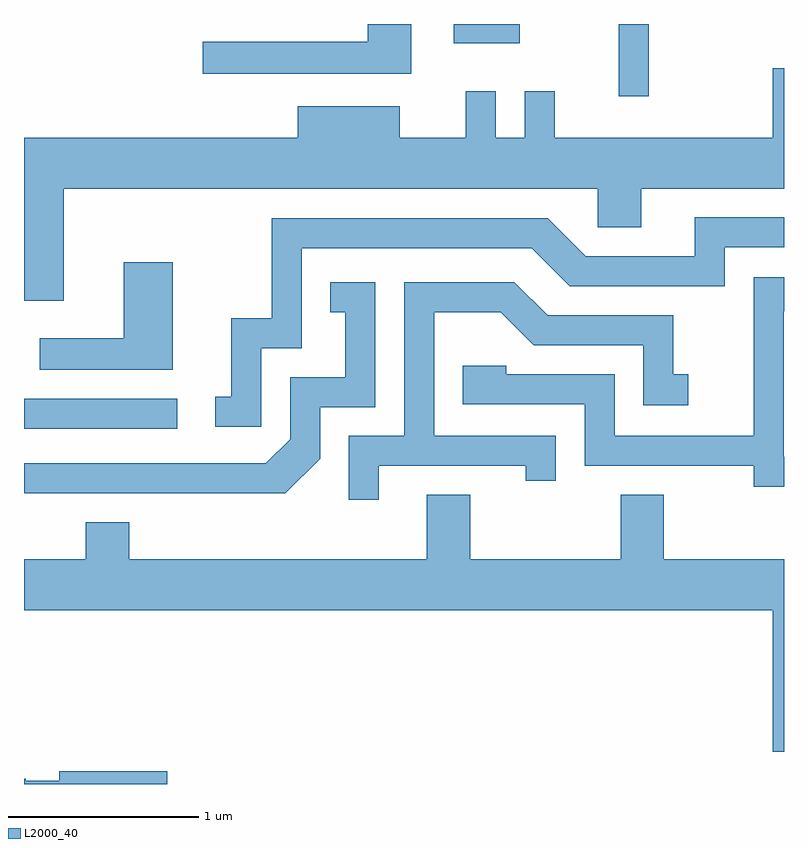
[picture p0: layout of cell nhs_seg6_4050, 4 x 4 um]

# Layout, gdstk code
import gdstk
lib = gdstk.Library(unit=1e-6, precision=1e-09)
def R(c, l, rs):  # rectangles x0, y0, x1, y1
    for r in rs: c.add(gdstk.rectangle(r[:2], r[2:], *l))
def P(c, l, *ps):  # polygons
    for p in ps: c.add(gdstk.Polygon(p, *l))
L2000_40 = (2000, 40)

nhs_seg6_4050 = lib.new_cell('nhs_seg6_4050')
R(nhs_seg6_4050, L2000_40, [(307.611,1622.031,308.418,1622.189), (310.741,1623.783,310.899,1624.162), (309.873,1624.061,310.219,1624.162)])
P(nhs_seg6_4050, L2000_40, [(309.649,1624.162),(309.421,1624.162),(309.421,1624.069),(308.553,1624.069),(308.553,1623.901),(309.649,1623.901)],
  [(307.819,1623.296),(310.631,1623.296),(310.631,1623.091),(310.859,1623.091),(310.859,1623.296),(311.611,1623.296),(311.611,1623.928),(311.551,1623.928),(311.551,1623.564),(310.404,1623.564),(310.404,1623.808),(310.246,1623.808),(310.246,1623.564),(310.094,1623.564),(310.094,1623.808),(309.936,1623.808),(309.936,1623.564),(309.589,1623.564),(309.589,1623.729),(309.051,1623.729),(309.051,1623.564),(307.611,1623.564),(307.611,1622.706),(307.819,1622.706)],
  [(308.859,1622.456),(309.074,1622.456),(309.074,1622.981),(310.284,1622.981),(310.484,1622.781),(311.299,1622.781),(311.299,1622.986),(311.611,1622.986),(311.611,1623.144),(311.141,1623.144),(311.141,1622.939),(310.567,1622.939),(310.367,1623.139),(308.916,1623.139),(308.916,1622.614),(308.701,1622.614),(308.701,1622.199),(308.618,1622.199),(308.618,1622.041),(308.859,1622.041)],
  [(308.394,1622.909),(308.136,1622.909),(308.136,1622.509),(307.693,1622.509),(307.693,1622.341),(308.394,1622.341)],
  [(311.611,1621.884),(311.609,1621.884),(311.609,1622.651),(311.611,1622.651),(311.611,1622.829),(311.451,1622.829),(311.451,1621.994),(310.719,1621.994),(310.719,1622.319),(310.149,1622.319),(310.149,1622.364),(309.921,1622.364),(309.921,1622.161),(310.561,1622.161),(310.561,1621.836),(311.451,1621.836),(311.451,1621.726),(311.611,1621.726)],
  [(309.479,1621.836),(310.251,1621.836),(310.251,1621.758),(310.409,1621.758),(310.409,1621.994),(309.769,1621.994),(309.769,1622.646),(310.119,1622.646),(310.294,1622.471),(310.871,1622.471),(310.871,1622.156),(311.108,1622.156),(311.108,1622.319),(311.029,1622.319),(311.029,1622.629),(310.367,1622.629),(310.192,1622.804),(309.611,1622.804),(309.611,1621.994),(309.321,1621.994),(309.321,1621.658),(309.479,1621.658)],
  [(309.169,1621.874),(309.169,1622.146),(309.459,1622.146),(309.459,1622.804),(309.223,1622.804),(309.223,1622.646),(309.301,1622.646),(309.301,1622.304),(309.011,1622.304),(309.011,1621.977),(308.884,1621.849),(307.611,1621.849),(307.611,1621.691),(308.987,1621.691)],
  [(307.936,1621.539),(307.936,1621.344),(307.611,1621.344),(307.611,1621.076),(311.551,1621.076),(311.551,1620.333),(311.611,1620.333),(311.611,1621.344),(310.979,1621.344),(310.979,1621.684),(310.751,1621.684),(310.751,1621.344),(309.959,1621.344),(309.959,1621.684),(309.731,1621.684),(309.731,1621.344),(308.164,1621.344),(308.164,1621.539)],
  [(308.364,1620.229),(307.796,1620.229),(307.796,1620.179),(307.62,1620.179),(307.62,1620.189),(307.611,1620.189),(307.611,1620.162),(308.364,1620.162)])

lib.write_gds('nhs_seg6_4050.gds')
